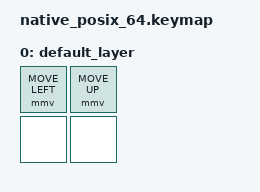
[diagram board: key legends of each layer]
#include <behaviors.dtsi>
#include <dt-bindings/zmk/keys.h>
#include <dt-bindings/zmk/kscan_mock.h>
#include <dt-bindings/zmk/mouse.h>

&mmv_input_listener {
    scale-multiplier = <5>;
    scale-divisor = <3>;
};

/ {
    keymap {
        compatible = "zmk,keymap";
        label ="Default keymap";

        default_layer {
            bindings = <
                &mmv MOVE_LEFT &mmv MOVE_UP
                &none &none
            >;
        };
    };
};


&kscan {
    events = <
        ZMK_MOCK_PRESS(0,0,10)
        ZMK_MOCK_PRESS(0,1,100)
        ZMK_MOCK_RELEASE(0,0,10)
        ZMK_MOCK_RELEASE(0,1,10)
    >;
};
